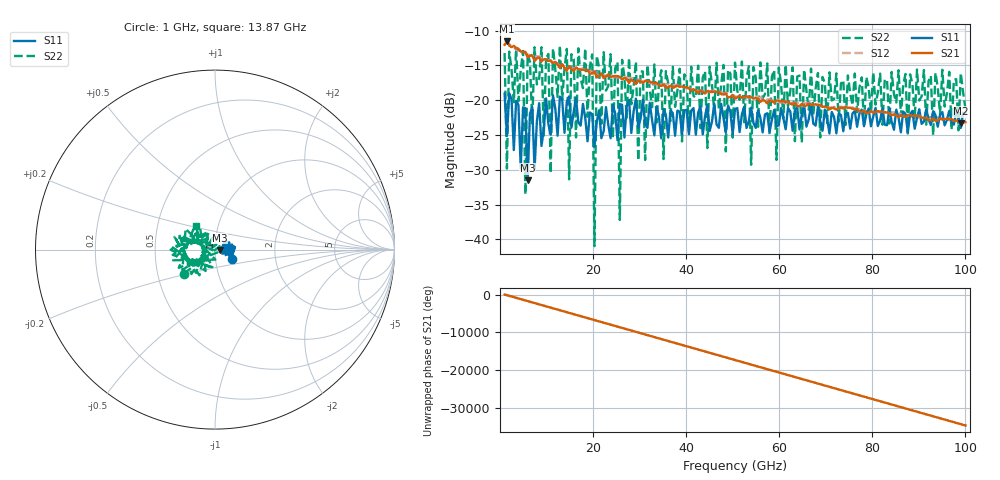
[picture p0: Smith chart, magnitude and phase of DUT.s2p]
!Created with skrf (http://scikit-rf.org).
# GHz S RI R 50.0
!freq ReS11 ImS11 ReS21 ImS21 ReS12 ImS12 ReS22 ImS22
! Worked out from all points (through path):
!   201 points, 1 GHz to 100 GHz, reference 50 ohm
!   highest |S21| = -11.53 dB at 1.495 GHz (marker M1); lowest = -23.3 dB at 99.01 GHz (marker M2)
!   lowest |S11| = -31.5 dB at 5.95 GHz (marker M3), VSWR 1.05, Z = 52.7 - j0.159 ohm
!   |S11| at or under -10 dB: start of sweep to end of sweep
!   |S22| runs from -41.0 to -12.1 dB; largest |S21 - S12| = 0.02
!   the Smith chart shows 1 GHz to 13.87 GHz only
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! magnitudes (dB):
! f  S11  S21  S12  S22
! 1 GHz  -19.1  -12.0  -11.4  -13.2
! 1.495 GHz  -25.1  -11.5  -11.5  -29.8
! 4.96 GHz  -21.0  -13.0  -13.3  -12.9
! 5.455 GHz  -21.1  -13.1  -13.2  -33.5
! 5.95 GHz  -31.5  -13.8  -13.4  -13.4
! 10.9 GHz  -24.9  -14.4  -14.2  -30.5
! 11.39 GHz  -19.3  -14.6  -14.6  -12.5
! 14.37 GHz  -20.2  -15.8  -15.4  -12.6
! 14.86 GHz  -19.5  -15.1  -15.2  -31.4
! 17.83 GHz  -20.5  -15.6  -15.4  -18.3
! 19.81 GHz  -22.0  -16.2  -15.9  -13.4
! 20.3 GHz  -26.7  -15.9  -15.8  -41.0
! 20.8 GHz  -23.1  -16.7  -16.1  -13.6
! 25.25 GHz  -25.7  -16.5  -16.7  -14.5
! 25.75 GHz  -20.6  -16.7  -16.6  -37.2
! 26.25 GHz  -20.7  -17.0  -16.7  -14.2
! 34.16 GHz  -22.4  -17.9  -17.7  -17.5
! 50.5 GHz  -21.3  -19.8  -19.5  -14.6
! 67.33 GHz  -23.4  -20.6  -20.6  -22.0
! 83.67 GHz  -21.2  -21.9  -21.6  -23.3
! 99.01 GHz  -24.0  -23.3  -23.1  -16.1
! 100 GHz  -21.8  -23.2  -23.0  -21.1
